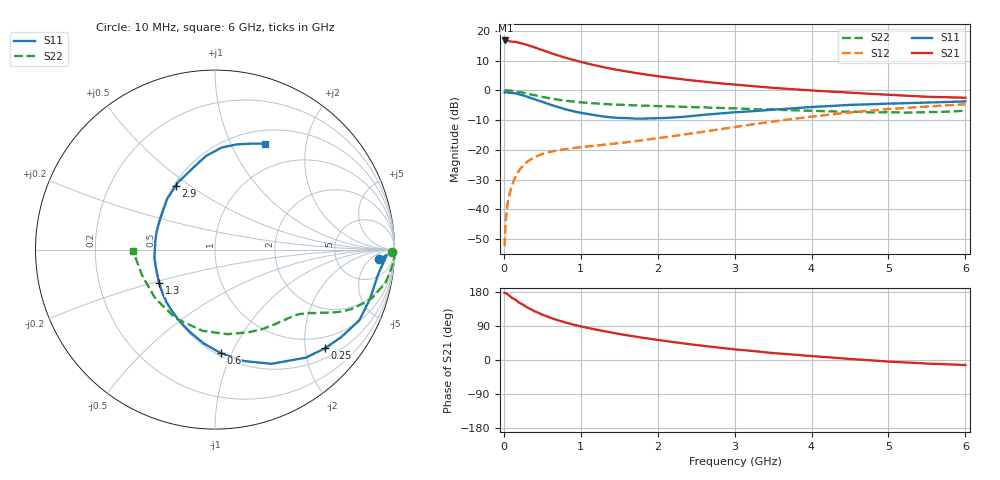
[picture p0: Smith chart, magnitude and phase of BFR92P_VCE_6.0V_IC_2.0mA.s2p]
! Infineon Technologies  Discrete & RF Semiconductors
! BFR92P
! VCE =  6.0 V,  IC =  2.0 mA
! Common Emitter S-Parameters:  Apr 2014
# GHz  S  MA  R  50
!  f  S11  S21  S12  S22
! GHz  MAG  ANG  MAG  ANG  MAG  ANG  MAG  ANG
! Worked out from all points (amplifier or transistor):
!   77 points, 10 MHz to 6 GHz, reference 50 ohm
!   highest |S21| = 16.8 dB at 20 MHz (marker M1)
!   |S21| within 3 dB of that: start of sweep to 474.1 MHz
!   unconditionally stable (mu >= 1): 1.388 GHz to 2.932 GHz
!   at 130 MHz: K = 0.11, MSG = 23.3 dB, |S12| = -30.3 dB
!   at 2.2 GHz: K = 1.10, MAG = 7.8 dB, |S12| = -15.4 dB
!   at 6 GHz: K = 0.88, MSG = 1.1 dB, |S12| = -4.7 dB
!   S11 on the Smith chart (normalised r, x): 10 MHz: 16, -11; 250 MHz: 0.71, -2.44; 600 MHz: 0.52, -0.91; 1.3 GHz: 0.49, -0.21; 2.9 GHz: 0.51, +0.44; 6 GHz: 0.66, +1.35
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0.01  0.9163 -3.3  6.695 177.1  0.0024 89.2  0.9858 -0.9
0.02  0.9576 -1.8  6.899 177.2  0.005 90.1  1 -1.4
0.05  0.9186 -8.8  6.8 173.0  0.0127 85.9  0.9981 -3.7
0.09  0.9066 -16.0  6.63 166.6  0.0215 80.9  0.9853 -6.7
0.15  0.8952 -26.1  6.552 159.0  0.035 75.7  0.9675 -11.1
0.2  0.8562 -34.6  6.3 151.2  0.0453 70.4  0.9392 -14.1
0.25  0.824 -41.8  6.061 145.8  0.0544 67.1  0.9157 -17.1
0.3  0.786 -50.0  5.816 139.0  0.0626 62.5  0.8828 -19.6
0.4  0.7098 -63.7  5.286 128.6  0.0754 57.3  0.8272 -23.7
0.5  0.6412 -75.5  4.756 119.8  0.0852 53.3  0.7768 -26.5
0.6  0.5774 -86.9  4.28 111.9  0.0924 50.0  0.7339 -28.6
0.8  0.4805 -106.7  3.537 99.0  0.1026 46.4  0.6703 -31.8
0.9  0.4464 -115.9  3.26 93.5  0.107 45.7  0.6476 -33.1
1.1  0.3986 -132.8  2.791 84.3  0.1143 45.6  0.6146 -35.3
1.3  0.3632 -148.9  2.45 76.2  0.1218 46.7  0.5903 -37.6
1.6  0.3412 -171.9  2.072 65.3  0.1345 48.9  0.5665 -41.6
2.1  0.3433 156.7  1.664 50.3  0.1634 53.1  0.5392 -49.0
2.9  0.4173 121.5  1.283 30.3  0.2312 55.0  0.5019 -65.0
3.1  0.4352 115.4  1.219 26.3  0.2526 54.1  0.4912 -70.2
4.1  0.5328 93.4  0.978 8.9  0.3734 46.1  0.4498 -102.7
5.1  0.6023 77.0  0.829 -5.2  0.4936 31.8  0.4258 -144.5
6  0.6515 64.9  0.751 -13.3  0.5845 18.0  0.4559 -178.9
